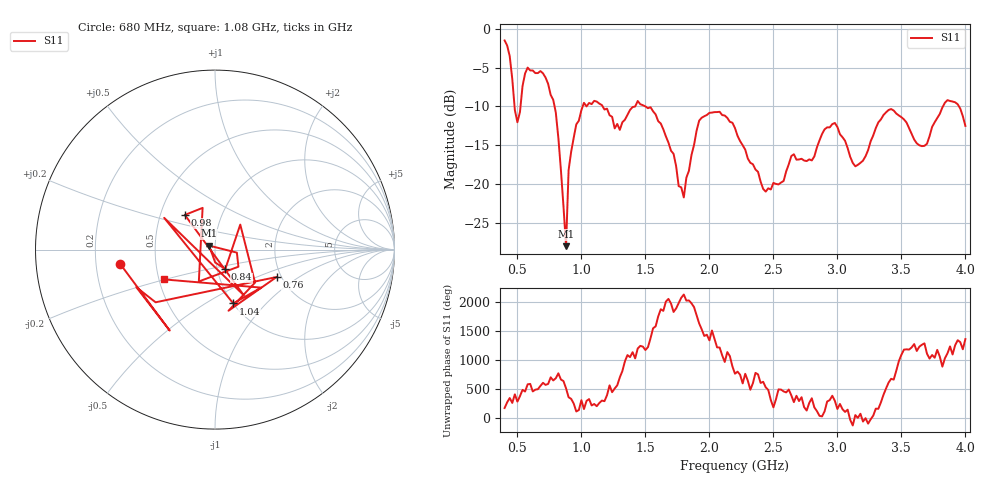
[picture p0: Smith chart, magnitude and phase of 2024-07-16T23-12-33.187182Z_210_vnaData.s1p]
!Created with skrf (http://scikit-rf.org).
# Hz S RI R 50.0
!freq ReS11 ImS11
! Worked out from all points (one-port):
!   181 points, 400 MHz to 4 GHz, reference 50 ohm
!   lowest |S11| = -28.0 dB at 880 MHz (marker M1), VSWR 1.08, Z = 46.8 + j2.1 ohm
!   |S11| at or under -10 dB: 790.4 MHz to 1.01 GHz (219.4 MHz wide, 24.4 % of centre); 1.166 GHz to 1.42 GHz (253.8 MHz wide, 19.6 % of centre); 1.501 GHz to 3.824 GHz (2.323 GHz wide, 87.3 % of centre) (the widest 3 of 5)
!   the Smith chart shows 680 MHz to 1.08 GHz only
!   S11 on the Smith chart (normalised r, x): 680 MHz: 0.30, -0.07; 760 MHz: 1.89, -0.67; 840 MHz: 1.09, -0.24; 980 MHz: 0.67, +0.28; 1.04 GHz: 1.00, -0.67; 1.08 GHz: 0.53, -0.20
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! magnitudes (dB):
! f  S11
! 400 MHz  -1.5
! 500 MHz  -12.0
! 580 MHz  -5.0
! 680 MHz  -5.4
! 760 MHz  -8.5
! 800 MHz  -10.8
! 840 MHz  -18.2
! 860 MHz  -22.9
! 880 MHz  -28.0
! 900 MHz  -18.2
! 980 MHz  -11.8
! 1.04 GHz  -10.0
! 1.08 GHz  -9.7
! 1.3 GHz  -13.0
! 1.54 GHz  -10.1
! 1.76 GHz  -20.3
! 1.8 GHz  -21.7
! 1.94 GHz  -11.4
! 2.2 GHz  -12.8
! 2.44 GHz  -21.0
! 2.66 GHz  -16.2
! 2.98 GHz  -12.1
! 3.1 GHz  -16.5
! 3.4 GHz  -10.4
! 3.56 GHz  -12.8
! 3.68 GHz  -15.1
! 3.86 GHz  -9.2
! 4 GHz  -12.5
